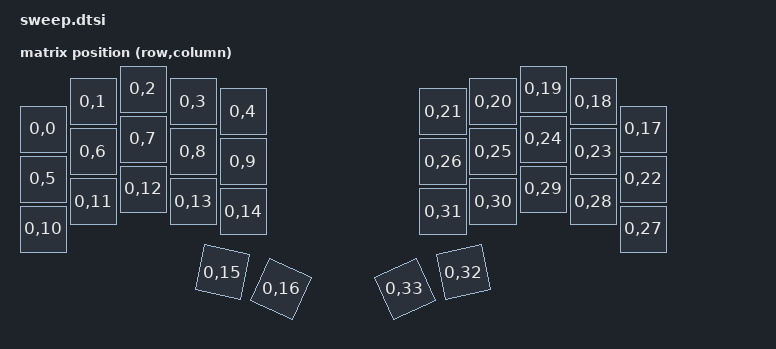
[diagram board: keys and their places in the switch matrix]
/*
 * Copyright (c) 2021-2022 The ZMK Contributors
 *
 * SPDX-License-Identifier: MIT
 */

#include <dt-bindings/zmk/matrix_transform.h>
#include <physical_layouts.dtsi>

/ {
    chosen {
        zmk,physical-layout = &default_layout;
    };

    default_layout: default_layout {
        compatible = "zmk,physical-layout";
        display-name = "Default Layout";
        transform = <&default_transform>;

        keys  //                     w   h    x    y     rot    rx    ry
            = <&key_physical_attrs 100 100    0   80       0     0     0>
            , <&key_physical_attrs 100 100  100   25       0     0     0>
            , <&key_physical_attrs 100 100  200    0       0     0     0>
            , <&key_physical_attrs 100 100  300   25       0     0     0>
            , <&key_physical_attrs 100 100  400   45       0     0     0>
            , <&key_physical_attrs 100 100  800   45       0     0     0>
            , <&key_physical_attrs 100 100  900   25       0     0     0>
            , <&key_physical_attrs 100 100 1000    0       0     0     0>
            , <&key_physical_attrs 100 100 1100   25       0     0     0>
            , <&key_physical_attrs 100 100 1200   80       0     0     0>
            , <&key_physical_attrs 100 100    0  180       0     0     0>
            , <&key_physical_attrs 100 100  100  125       0     0     0>
            , <&key_physical_attrs 100 100  200  100       0     0     0>
            , <&key_physical_attrs 100 100  300  125       0     0     0>
            , <&key_physical_attrs 100 100  400  145       0     0     0>
            , <&key_physical_attrs 100 100  800  145       0     0     0>
            , <&key_physical_attrs 100 100  900  125       0     0     0>
            , <&key_physical_attrs 100 100 1000  100       0     0     0>
            , <&key_physical_attrs 100 100 1100  125       0     0     0>
            , <&key_physical_attrs 100 100 1200  180       0     0     0>
            , <&key_physical_attrs 100 100    0  280       0     0     0>
            , <&key_physical_attrs 100 100  100  225       0     0     0>
            , <&key_physical_attrs 100 100  200  200       0     0     0>
            , <&key_physical_attrs 100 100  300  225       0     0     0>
            , <&key_physical_attrs 100 100  400  245       0     0     0>
            , <&key_physical_attrs 100 100  800  245       0     0     0>
            , <&key_physical_attrs 100 100  900  225       0     0     0>
            , <&key_physical_attrs 100 100 1000  200       0     0     0>
            , <&key_physical_attrs 100 100 1100  225       0     0     0>
            , <&key_physical_attrs 100 100 1200  280       0     0     0>
            , <&key_physical_attrs 100 100  350  355    1200   350   455>
            , <&key_physical_attrs 100 100  460  375    2400   460   475>
            , <&key_physical_attrs 100 100  740  375  (-2400)  840   475>
            , <&key_physical_attrs 100 100  850  355  (-1200)  950   455>
            ;
    };

    default_transform: keymap_transform_0 {
        compatible = "zmk,matrix-transform";
        columns = <34>;
        rows = <1>;
        map = <
            RC(0,0)  RC(0,1)  RC(0,2)  RC(0,3)  RC(0,4)         RC(0,21) RC(0,20) RC(0,19) RC(0,18) RC(0,17)
            RC(0,5)  RC(0,6)  RC(0,7)  RC(0,8)  RC(0,9)         RC(0,26) RC(0,25) RC(0,24) RC(0,23) RC(0,22)
            RC(0,10) RC(0,11) RC(0,12) RC(0,13) RC(0,14)        RC(0,31) RC(0,30) RC(0,29) RC(0,28) RC(0,27)
                              RC(0,15) RC(0,16)        RC(0,33) RC(0,32)
        >;
    };
};
